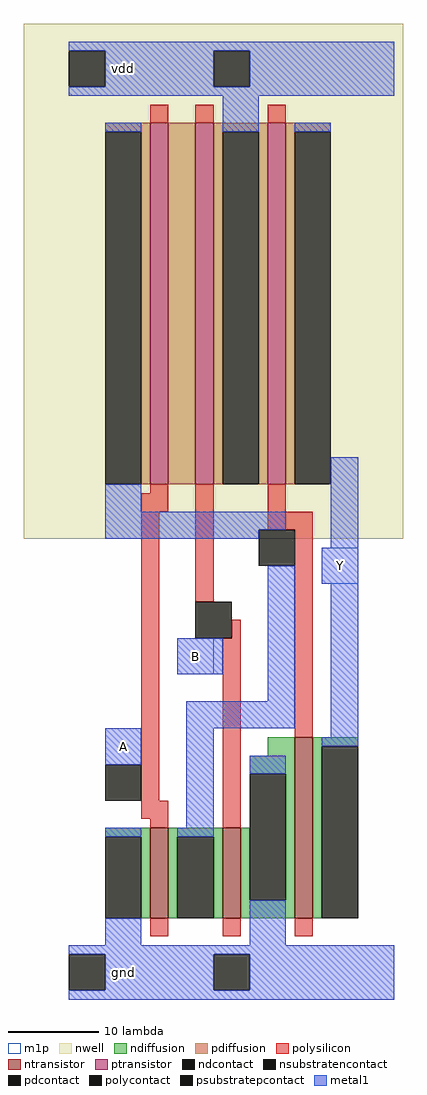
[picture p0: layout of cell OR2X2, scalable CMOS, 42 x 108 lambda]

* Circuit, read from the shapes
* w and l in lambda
.subckt OR2X2 A B Y gnd vdd
M1 n1 A gnd gnd nfet w=10 l=2
M2 gnd B n1 gnd nfet w=10 l=2
M3 Y n1 gnd gnd nfet w=20 l=2
M4 n2 A n1 vdd pfet w=40 l=2
M5 vdd B n2 vdd pfet w=40 l=2
M6 Y n1 vdd vdd pfet w=40 l=2
.ends

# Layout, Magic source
magic
tech scmos
<< nwell >>
rect -7 48 35 105
<< ntransistor >>
rect 7 6 9 16
rect 15 6 17 16
rect 23 6 25 26
<< ptransistor >>
rect 7 54 9 94
rect 12 54 14 94
rect 20 54 22 94
<< ndiffusion >>
rect 20 24 23 26
rect 18 22 23 24
rect 2 15 7 16
rect 6 6 7 15
rect 9 15 15 16
rect 9 6 10 15
rect 14 6 15 15
rect 17 8 18 16
rect 22 8 23 22
rect 17 6 23 8
rect 25 25 30 26
rect 25 6 26 25
<< pdiffusion >>
rect 2 93 7 94
rect 6 54 7 93
rect 9 54 12 94
rect 14 93 20 94
rect 14 54 15 93
rect 19 54 20 93
rect 22 93 27 94
rect 22 54 23 93
<< ndcontact >>
rect 2 6 6 15
rect 10 6 14 15
rect 18 8 22 22
rect 26 6 30 25
<< pdcontact >>
rect 2 54 6 93
rect 15 54 19 93
rect 23 54 27 93
<< psubstratepcontact >>
rect -2 -2 2 2
rect 14 -2 18 2
<< nsubstratencontact >>
rect -2 98 2 102
rect 14 98 18 102
<< polysilicon >>
rect 7 94 9 96
rect 12 94 14 96
rect 20 94 22 96
rect 7 53 9 54
rect 6 51 9 53
rect 6 19 8 51
rect 12 41 14 54
rect 20 51 22 54
rect 20 49 25 51
rect 16 37 17 39
rect 6 17 9 19
rect 7 16 9 17
rect 15 16 17 37
rect 23 26 25 49
rect 7 4 9 6
rect 15 4 17 6
rect 23 4 25 6
<< polycontact >>
rect 2 19 6 23
rect 19 45 23 49
rect 12 37 16 41
<< metal1 >>
rect -2 102 34 103
rect 2 98 14 102
rect 18 98 34 102
rect -2 97 34 98
rect 2 93 6 94
rect 15 93 19 97
rect 23 93 27 94
rect 2 51 6 54
rect 2 49 22 51
rect 2 48 19 49
rect 27 47 30 57
rect 10 33 15 37
rect 20 30 23 45
rect 26 43 30 47
rect 11 27 23 30
rect 2 23 6 27
rect 11 16 14 27
rect 27 26 30 43
rect 26 25 30 26
rect 2 15 6 16
rect 10 15 14 16
rect 18 22 22 24
rect 2 3 6 6
rect 18 3 22 8
rect -2 2 34 3
rect 2 -2 14 2
rect 18 -2 34 2
rect -2 -3 34 -2
<< m1p >>
rect 26 43 30 47
rect 10 33 14 37
rect 2 23 6 27
<< labels >>
rlabel metal1 28 45 28 45 4 Y
rlabel metal1 12 35 12 35 4 B
rlabel metal1 4 100 4 100 4 vdd
rlabel metal1 4 0 4 0 4 gnd
rlabel metal1 4 25 4 25 4 A
<< end >>
